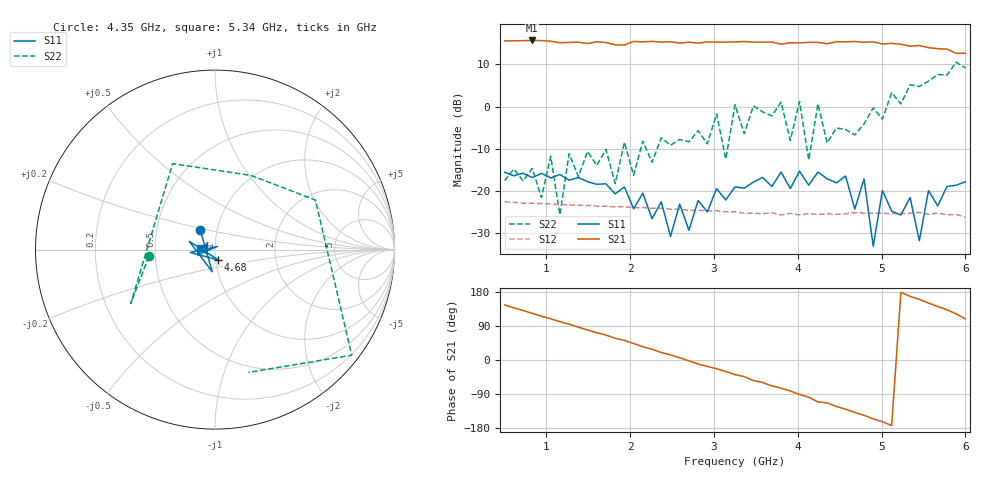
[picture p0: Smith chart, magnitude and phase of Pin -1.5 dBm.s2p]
! RsaToolbox (C) 2015 Rohde & Schwarz America
! Number of points: 51
! Number of ports: 2
! Balanced ports?: No
# Hz S RI R 50
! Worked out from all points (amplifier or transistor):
!   51 points, 500 MHz to 6 GHz, reference 50 ohm
!   highest |S21| = 15.7 dB at 830 MHz (marker M1)
!   |S21| within 3 dB of that: start of sweep to 5.884 GHz
!   unconditionally stable (mu >= 1): start of sweep to 3.004 GHz; 3.046 GHz to 3.22 GHz; 4.282 GHz to 4.808 GHz (the widest 3 of 7)
!   at 1.38 GHz: K = 1.41, MAG = 15.5 dB, |S12| = -23.4 dB
!   at 3.25 GHz: K = 0.07, MSG = 20.2 dB, |S12| = -25.0 dB
!   at 6 GHz: K = -16.76, MSG = 19.5 dB, |S12| = -26.3 dB
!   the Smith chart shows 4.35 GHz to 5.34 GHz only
!   S11 on the Smith chart (normalised r, x): 4.35 GHz: 0.83, +0.19; 4.68 GHz: 1.03, -0.12; 5.34 GHz: 0.85, +0.01
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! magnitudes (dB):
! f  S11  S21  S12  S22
! 500 MHz  -15.6  15.6  -22.6  -17.6
! 830 MHz  -16.9  15.7  -23.0  -14.7
! 1.05 GHz  -16.9  15.5  -23.1  -11.8
! 1.16 GHz  -16.1  15.1  -23.2  -25.7
! 1.27 GHz  -17.5  15.2  -23.3  -11.2
! 1.49 GHz  -17.8  14.9  -23.4  -10.7
! 1.82 GHz  -20.7  14.6  -23.8  -18.3
! 2.37 GHz  -22.6  15.3  -24.1  -7.4
! 3.03 GHz  -19.5  15.3  -24.7  -1.8
! 3.14 GHz  -22.2  15.3  -25.0  -12.4
! 3.25 GHz  -19.0  15.3  -25.0  0.4
! 3.91 GHz  -19.5  15.1  -25.3  -8.1
! 4.02 GHz  -15.3  15.1  -25.7  1.2
! 4.13 GHz  -18.7  15.2  -25.4  -12.7
! 4.24 GHz  -15.5  15.2  -25.6  0.6
! 4.35 GHz  -17.1  14.9  -25.4  -8.6
! 4.68 GHz  -24.3  15.4  -25.2  -6.7
! 5.12 GHz  -24.8  15.0  -25.4  3.3
! 5.34 GHz  -21.6  14.3  -25.3  5.2
! 5.45 GHz  -31.8  14.5  -25.1  4.7
! 5.56 GHz  -19.9  14.0  -25.6  6.0
! 6 GHz  -17.8  12.6  -26.3  9.2
